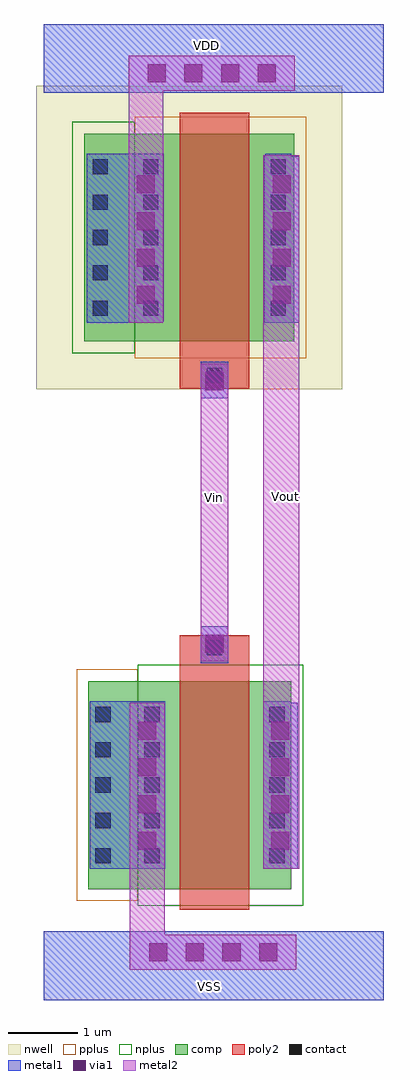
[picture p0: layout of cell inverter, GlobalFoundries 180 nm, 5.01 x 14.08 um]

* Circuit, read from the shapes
.subckt inverter VDD VSS Vin Vout
XM1 Vout Vin VSS VSS nfet_03v3 w=3u l=1u
XM2 Vout Vin VDD VDD pfet_03v3 w=3u l=1u
.ends

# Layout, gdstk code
import gdstk
lib = gdstk.Library(unit=1e-6, precision=1e-09)
def R(c, l, rs):  # rectangles x0, y0, x1, y1
    for r in rs: c.add(gdstk.rectangle(r[:2], r[2:], *l))
def A(c, l, x, y, w, h, nx, ny, dx, dy):  # array of equal rectangles
    R(c, l, [(x+i*dx, y+j*dy, x+i*dx+w, y+j*dy+h) for i in range(nx) for j in range(ny)])
nwell = (21, 0)
comp = (22, 0)
poly2 = (30, 0)
pplus = (31, 0)
nplus = (32, 0)
contact = (33, 0)
metal1 = (34, 0)
via1 = (35, 0)
metal2 = (36, 0)

inverter = lib.new_cell('inverter')
R(inverter, nwell, [(-1.87,7.21,2.54,11.59)])
R(inverter, comp, [(-1.12,0,-0.41,3), (-0.41,0,0.01,3), (0.01,0,1.39,3), (1.39,0,1.81,3), (-1.18,7.9,-0.45,10.9), (-0.45,7.9,0.01,10.9), (0.01,7.9,1.39,10.9), (1.39,7.9,1.85,10.9)])
R(inverter, poly2, [(0.2,-0.3,1.2,3.3), (0.2,3.3,1.2,3.66), (0.2,7.22,1.2,7.6), (0.2,7.6,1.2,11.2)])
R(inverter, pplus, [(-1.29,-0.17,-0.41,3.17), (-0.45,7.66,2.02,11.14)])
R(inverter, nplus, [(-0.41,-0.24,1.98,3.24), (-1.35,7.73,-0.45,11.07)])
A(inverter, contact, -1.02, 0.37, 0.22, 0.22, 1, 5, 0, 0.51)
A(inverter, contact, -0.31, 0.37, 0.22, 0.22, 1, 5, 0, 0.51)
A(inverter, contact, 1.49, 0.37, 0.22, 0.22, 1, 5, 0, 0.51)
A(inverter, contact, -1.06, 8.27, 0.22, 0.22, 1, 5, 0, 0.51)
A(inverter, contact, -0.33, 8.27, 0.22, 0.22, 1, 5, 0, 0.51)
A(inverter, contact, 1.51, 8.27, 0.22, 0.22, 1, 5, 0, 0.51)
R(inverter, contact, [(0.59,3.37,0.81,3.59), (0.59,7.3,0.81,7.52)])
R(inverter, metal1, [(-1.76,-1.6,3.14,-0.61), (-0.52,-1.16,1.88,-0.66), (-1.1,0.29,-0.72,2.71), (-0.72,0.29,-0.39,2.71), (-0.52,0.29,-0.02,2.69), (-0.39,0.29,-0.01,2.71), (1.4,0.29,1.9,2.69), (1.41,0.29,1.79,2.71), (0.5,3.26,0.9,3.29), (0.51,3.289,0.89,3.671), (0.5,3.29,0.9,3.79), (0.5,7.08,0.9,7.58), (0.51,7.219,0.89,7.601), (0.5,7.58,0.9,7.61), (-1.14,8.17,-0.41,10.61), (-0.54,8.17,-0.04,10.57), (1.42,8.17,1.92,10.57), (-1.14,8.19,-0.76,10.61), (-0.41,8.19,-0.03,10.61), (1.43,8.19,1.81,10.61), (-1.76,11.49,3.14,12.48), (-0.54,11.52,1.86,12.02)])
A(inverter, via1, -0.245, -1.04, 0.26, 0.26, 4, 1, 0.53, 0)
A(inverter, via1, -0.4, 0.565, 0.26, 0.26, 1, 4, 0, 0.53)
A(inverter, via1, 1.52, 0.565, 0.26, 0.26, 1, 4, 0, 0.53)
A(inverter, via1, -0.42, 8.445, 0.26, 0.26, 1, 4, 0, 0.53)
A(inverter, via1, 1.54, 8.445, 0.26, 0.26, 1, 4, 0, 0.53)
A(inverter, via1, -0.265, 11.64, 0.26, 0.26, 4, 1, 0.53, 0)
R(inverter, via1, [(0.57,3.41,0.83,3.67), (0.57,7.2,0.83,7.46)])
R(inverter, metal2, [(-0.52,-1.16,1.88,-0.66), (-0.52,-0.66,-0.02,0.29), (-0.52,0.29,-0.02,2.69), (1.4,0.29,1.92,10.59), (1.4,0.29,1.9,2.69), (0.5,3.29,0.9,3.79), (0.5,3.79,0.9,7.08), (0.5,7.08,0.9,7.58), (-0.54,8.17,-0.04,10.57), (1.42,8.17,1.92,10.57), (-0.54,10.57,-0.04,11.52), (-0.54,11.52,1.86,12.02)])
inverter.add(gdstk.Label('VDD', (0.585,12.175), layer=34, texttype=10))
inverter.add(gdstk.Label('VSS', (0.63,-1.405), layer=34, texttype=10))
inverter.add(gdstk.Label('Vin', (0.705,5.645), layer=36, texttype=10))
inverter.add(gdstk.Label('Vout', (1.73,5.66), layer=36, texttype=10))

lib.write_gds('inverter.gds')
